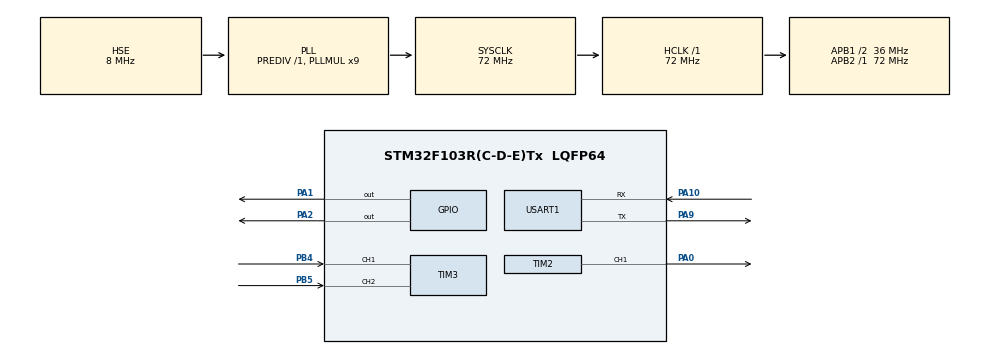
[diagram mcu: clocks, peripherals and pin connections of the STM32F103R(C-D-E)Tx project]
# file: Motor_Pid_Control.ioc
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Mcu.Family=STM32F1
Mcu.Name=STM32F103R(C-D-E)Tx
Mcu.Package=LQFP64
NVIC.PriorityGroup=NVIC_PRIORITYGROUP_4
NVIC.TIM3_IRQn=true\:0\:0\:false\:false\:true\:true\:true\:true
NVIC.USART1_IRQn=true\:0\:0\:false\:false\:true\:true\:true\:true
PA0-WKUP.Signal=S_TIM2_CH1_ETR
PA1.Signal=GPIO_Output
PA10.Mode=Asynchronous
PA10.Signal=USART1_RX
PA13.Mode=Serial_Wire
PA13.Signal=SYS_JTMS-SWDIO
PA14.Mode=Serial_Wire
PA14.Signal=SYS_JTCK-SWCLK
PA2.Signal=GPIO_Output
PA9.Mode=Asynchronous
PA9.Signal=USART1_TX
PB4.Signal=S_TIM3_CH1
PB5.Signal=S_TIM3_CH2
PD0-OSC_IN.Mode=HSE-External-Oscillator
PD0-OSC_IN.Signal=RCC_OSC_IN
PD1-OSC_OUT.Mode=HSE-External-Oscillator
PD1-OSC_OUT.Signal=RCC_OSC_OUT
ProjectManager.HeapSize=0x200
ProjectManager.StackSize=0x400
ProjectManager.TargetToolchain=MDK-ARM V5.32
RCC.AHBFreq_Value=72000000
RCC.APB1CLKDivider=RCC_HCLK_DIV2
RCC.APB1Freq_Value=36000000
RCC.APB1TimFreq_Value=72000000
RCC.APB2Freq_Value=72000000
RCC.APB2TimFreq_Value=72000000
RCC.HCLKFreq_Value=72000000
RCC.PLLMUL=RCC_PLL_MUL9
RCC.PLLSourceVirtual=RCC_PLLSOURCE_HSE
RCC.SYSCLKFreq_VALUE=72000000
RCC.SYSCLKSource=RCC_SYSCLKSOURCE_PLLCLK
RCC.USBFreq_Value=72000000
SH.S_TIM2_CH1_ETR.0=TIM2_CH1,PWM Generation1 CH1
SH.S_TIM3_CH1.0=TIM3_CH1,Encoder_Interface
SH.S_TIM3_CH2.0=TIM3_CH2,Encoder_Interface
TIM2.Channel-PWM\ Generation1\ CH1=TIM_CHANNEL_1
TIM2.Period=999
TIM2.Prescaler=719
USART1.VirtualMode=VM_ASYNC
board=custom

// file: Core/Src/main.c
/* USER CODE BEGIN Header */
/**
  ******************************************************************************
  * @file           : main.c
  * @brief          : Main program body
  ******************************************************************************
  * @attention
  *
  * Copyright (c) 2025 STMicroelectronics.
  * All rights reserved.
  *
  * This software is licensed under terms that can be found in the LICENSE file
  * in the root directory of this software component.
  * If no LICENSE file comes with this software, it is provided AS-IS.
  *
  ******************************************************************************
  */
/* USER CODE END Header */
#include "main.h"

/* USER CODE BEGIN Includes */
#include <math.h>
#include <stdio.h>
#include <string.h>
#include "encoder.h"
#include "pid_controller.h"
#include "motor_control.h"
#include "serial_interface.h"
/* USER CODE END Includes */

/* USER CODE BEGIN PM */
uint32_t system_time = 0; // 系统时间变量
char serial_buffer[100];  // 串口命令缓冲区
uint8_t buffer_index = 0; // 缓冲区索引
/* USER CODE END PM */

TIM_HandleTypeDef htim2;
TIM_HandleTypeDef htim3;

UART_HandleTypeDef huart1;

/* USER CODE BEGIN PV */
extern TIM_HandleTypeDef htim3;
extern UART_HandleTypeDef huart1;
extern TIM_HandleTypeDef htim2;
extern Motor_TypeDef motor1;
extern PID_Controller angle_pid;

extern int32_t encoder_overflow;

char serial_buffer[100];
uint8_t vofa_enabled = 1; // VOFA+数据发送开关
/* USER CODE END PV */

void SystemClock_Config(void);
static void MX_GPIO_Init(void);
static void MX_TIM2_Init(void);
static void MX_TIM3_Init(void);
static void MX_USART1_UART_Init(void);

/* USER CODE BEGIN 0 */
// int _write(int file, char *ptr, int len)
// {
// 	int DataIdx;
// 	for(DataIdx = 0; DataIdx < len; DataIdx++)
// 	{
// 		HAL_UART_Transmit(&huart1,(uint8_t *)&ptr[DataIdx],1,HAL_MAX_DELAY);
// 	}
// 	return len;
// }

int fputc(int ch, FILE *f)
{
  HAL_UART_Transmit_IT(&huart1, (uint8_t *)&ch, 1);
  return ch;
}
/* USER CODE END 0 */

int main(void)
{

  /* USER CODE BEGIN 1 */
  float target_angle = 30.0f;   // 目标角度，单位为度
  float current_angle = 0.0f;   // 当前角度，单位为度
  float pid_output = 0.0f;      // PID控制器输出
uint32_t last_print_time = 0; // 上次打印时间
  uint32_t start_time = 0;      // 步进测试开始时间
  uint8_t step_test_done = 0;   // 步进测试完成标志
  /* USER CODE END 1 */

  /* MCU Configuration--------------------------------------------------------*/

  /* Reset of all peripherals, Initializes the Flash interface and the Systick. */
  HAL_Init();

  /* Configure the system clock */
  SystemClock_Config();

  /* Initialize all configured peripherals */
  MX_GPIO_Init();
  MX_TIM2_Init();
  MX_TIM3_Init();
  MX_USART1_UART_Init();
  /* USER CODE BEGIN 2 */
  Motor_Init();                                                             // 初始化电机
  PID_Init();                                                               // 初始化PID控制器
  HAL_TIM_PWM_Start(&htim2, TIM_CHANNEL_1);                                 // 启动PWM输出
  HAL_TIM_Encoder_Start_IT(&htim3, TIM_CHANNEL_ALL);                        // 启动编码器接口
HAL_UART_Receive_IT(&huart1, (uint8_t *)&serial_buffer[buffer_index], 1); // 启动串口接收中断
  Encoder_ClearCount();                                                     // 清零编码器计数
  start_time = system_time;                                                 // 记录步进测试开始时间

printf("Motor PID Control System Initialized.\r\n");
HAL_Delay(10);
printf("Target:30° step response in 300ms\r\n");
HAL_Delay(10);
  printf("Encoder PPR:%d, Gear Ratio:%d,Total Pulses:%d\r\n", ENCODER_PPR, GEAR_RATIO, TOTAL_PULSES);
HAL_Delay(10);
printf("Commands:set kp/ki/kd <value>,pid show,pid reset,help\r\n");
HAL_Delay(10);
  printf("Initial PID: Kp=%.1f, Ki=%.1f, Kd=%.1f\r\n", angle_pid.Kp, angle_pid.Ki, angle_pid.Kd);
HAL_Delay(10);
  /* USER CODE END 2 */

  /* Infinite loop */
  /* USER CODE BEGIN WHILE */
  while (1)
  {
    // HAL_UART_Transmit_IT(&huart1, (uint8_t *)"hello", 6); // 触发UART中断处理
    current_angle = Encoder_GetAngle();                      // 获取当前角度
    pid_output = PID_Calculate(target_angle, current_angle); // 计算PID输出
    Motor_SetSpeed((int16_t)pid_output);                     // 电机控制
    if (vofa_enabled)
    {
      Vofa_SendData(target_angle, current_angle, pid_output);
    }
    if (!step_test_done && (system_time - start_time >= 300))
    {
      float error = fabs(target_angle - current_angle);
      if (error <= 0.3f)
      {
        printf("Step Response Test Passed! Time: %u ms, Final Angle: %.2f°, Error: %.2f°\r\n", system_time - start_time, current_angle, error);
      }
      else
      {
        printf("Step Response Test Failed! Time: %u ms, Final Angle: %.2f°, Error: %.2f°\r\n", system_time - start_time, current_angle, error);
      }
      step_test_done = 1; // 阶跃响应测试
    }
    if (system_time - last_print_time >= 100)
    {
      printf("Time:%u ms, Target:%.2f°, Current:%.2f°, PID Output:%.2f\r\n", system_time, target_angle, current_angle, pid_output);
      last_print_time = system_time;
    } // 100ms打印状态
    HAL_Delay(10);
    encoder_overflow += (short)__HAL_TIM_GET_COUNTER(&htim3); // 累计编码器计数
    __HAL_TIM_SET_COUNTER(&htim3, 0);                         // 清零计数器
    /* USER CODE END WHILE */

  }
}

void SystemClock_Config(void)
{
  RCC_OscInitTypeDef RCC_OscInitStruct = {0};
  RCC_ClkInitTypeDef RCC_ClkInitStruct = {0};

  /** Initializes the RCC Oscillators according to the specified parameters
  * in the RCC_OscInitTypeDef structure.
  */
  RCC_OscInitStruct.OscillatorType = RCC_OSCILLATORTYPE_HSE;
  RCC_OscInitStruct.HSEState = RCC_HSE_ON;
  RCC_OscInitStruct.HSEPredivValue = RCC_HSE_PREDIV_DIV1;
  RCC_OscInitStruct.HSIState = RCC_HSI_ON;
  RCC_OscInitStruct.PLL.PLLState = RCC_PLL_ON;
  RCC_OscInitStruct.PLL.PLLSource = RCC_PLLSOURCE_HSE;
  RCC_OscInitStruct.PLL.PLLMUL = RCC_PLL_MUL9;
  if (HAL_RCC_OscConfig(&RCC_OscInitStruct) != HAL_OK)
  {
    Error_Handler();
  }

  /** Initializes the CPU, AHB and APB buses clocks
  */
  RCC_ClkInitStruct.ClockType = RCC_CLOCKTYPE_HCLK|RCC_CLOCKTYPE_SYSCLK
                              |RCC_CLOCKTYPE_PCLK1|RCC_CLOCKTYPE_PCLK2;
  RCC_ClkInitStruct.SYSCLKSource = RCC_SYSCLKSOURCE_PLLCLK;
  RCC_ClkInitStruct.AHBCLKDivider = RCC_SYSCLK_DIV1;
  RCC_ClkInitStruct.APB1CLKDivider = RCC_HCLK_DIV2;
  RCC_ClkInitStruct.APB2CLKDivider = RCC_HCLK_DIV1;

  if (HAL_RCC_ClockConfig(&RCC_ClkInitStruct, FLASH_LATENCY_2) != HAL_OK)
  {
    Error_Handler();
  }
}

static void MX_TIM2_Init(void)
{

  TIM_MasterConfigTypeDef sMasterConfig = {0};
  TIM_OC_InitTypeDef sConfigOC = {0};

  htim2.Instance = TIM2;
  htim2.Init.Prescaler = 719;
  htim2.Init.CounterMode = TIM_COUNTERMODE_UP;
  htim2.Init.Period = 999;
  htim2.Init.ClockDivision = TIM_CLOCKDIVISION_DIV1;
  htim2.Init.AutoReloadPreload = TIM_AUTORELOAD_PRELOAD_DISABLE;
  if (HAL_TIM_PWM_Init(&htim2) != HAL_OK)
  {
    Error_Handler();
  }
  sMasterConfig.MasterOutputTrigger = TIM_TRGO_RESET;
  sMasterConfig.MasterSlaveMode = TIM_MASTERSLAVEMODE_DISABLE;
  if (HAL_TIMEx_MasterConfigSynchronization(&htim2, &sMasterConfig) != HAL_OK)
  {
    Error_Handler();
  }
  sConfigOC.OCMode = TIM_OCMODE_PWM1;
  sConfigOC.Pulse = 0;
  sConfigOC.OCPolarity = TIM_OCPOLARITY_HIGH;
  sConfigOC.OCFastMode = TIM_OCFAST_DISABLE;
  if (HAL_TIM_PWM_ConfigChannel(&htim2, &sConfigOC, TIM_CHANNEL_1) != HAL_OK)
  {
    Error_Handler();
  }
  HAL_TIM_MspPostInit(&htim2);

}

static void MX_TIM3_Init(void)
{

  TIM_Encoder_InitTypeDef sConfig = {0};
  TIM_MasterConfigTypeDef sMasterConfig = {0};

  htim3.Instance = TIM3;
  htim3.Init.Prescaler = 0;
  htim3.Init.CounterMode = TIM_COUNTERMODE_UP;
  htim3.Init.Period = 65535;
  htim3.Init.ClockDivision = TIM_CLOCKDIVISION_DIV1;
  htim3.Init.AutoReloadPreload = TIM_AUTORELOAD_PRELOAD_DISABLE;
  sConfig.EncoderMode = TIM_ENCODERMODE_TI1;
  sConfig.IC1Polarity = TIM_ICPOLARITY_RISING;
  sConfig.IC1Selection = TIM_ICSELECTION_DIRECTTI;
  sConfig.IC1Prescaler = TIM_ICPSC_DIV1;
  sConfig.IC1Filter = 0;
  sConfig.IC2Polarity = TIM_ICPOLARITY_RISING;
  sConfig.IC2Selection = TIM_ICSELECTION_DIRECTTI;
  sConfig.IC2Prescaler = TIM_ICPSC_DIV1;
  sConfig.IC2Filter = 0;
  if (HAL_TIM_Encoder_Init(&htim3, &sConfig) != HAL_OK)
  {
    Error_Handler();
  }
  sMasterConfig.MasterOutputTrigger = TIM_TRGO_RESET;
  sMasterConfig.MasterSlaveMode = TIM_MASTERSLAVEMODE_DISABLE;
  if (HAL_TIMEx_MasterConfigSynchronization(&htim3, &sMasterConfig) != HAL_OK)
  {
    Error_Handler();
  }

}

static void MX_USART1_UART_Init(void)
{

  huart1.Instance = USART1;
  huart1.Init.BaudRate = 115200;
  huart1.Init.WordLength = UART_WORDLENGTH_8B;
  huart1.Init.StopBits = UART_STOPBITS_1;
  huart1.Init.Parity = UART_PARITY_NONE;
  huart1.Init.Mode = UART_MODE_TX_RX;
  huart1.Init.HwFlowCtl = UART_HWCONTROL_NONE;
  huart1.Init.OverSampling = UART_OVERSAMPLING_16;
  if (HAL_UART_Init(&huart1) != HAL_OK)
  {
    Error_Handler();
  }

}

static void MX_GPIO_Init(void)
{
  GPIO_InitTypeDef GPIO_InitStruct = {0};

  /* GPIO Ports Clock Enable */
  __HAL_RCC_GPIOD_CLK_ENABLE();
  __HAL_RCC_GPIOA_CLK_ENABLE();
  __HAL_RCC_GPIOB_CLK_ENABLE();

  /*Configure GPIO pin Output Level */
  HAL_GPIO_WritePin(GPIOA, GPIO_PIN_1|GPIO_PIN_2, GPIO_PIN_RESET);

  /*Configure GPIO pins : PA1 PA2 */
  GPIO_InitStruct.Pin = GPIO_PIN_1|GPIO_PIN_2;
  GPIO_InitStruct.Mode = GPIO_MODE_OUTPUT_PP;
  GPIO_InitStruct.Pull = GPIO_NOPULL;
  GPIO_InitStruct.Speed = GPIO_SPEED_FREQ_LOW;
  HAL_GPIO_Init(GPIOA, &GPIO_InitStruct);

}

/* USER CODE BEGIN 4 */
void HAL_SYSTICK_Callback(void)
{
  system_time++; // 系统时间递增，单位为1ms
}

// void HAL_TIM_IC_CaptureCallback(TIM_HandleTypeDef *htim)
// {
//   static int32_t encoder_overflow = 0;
//   if(htim->Instance == TIM3)
//   {
//     if(__HAL_TIM_GET_FLAG(&htim3, TIM_FLAG_UPDATE) != RESET)
//     {
//       __HAL_TIM_CLEAR_FLAG(&htim3, TIM_FLAG_UPDATE);
//       if(__HAL_TIM_IS_TIM_COUNTING_DOWN(&htim3))
//       {
//         encoder_overflow -= 65536;
//       }
//       else
//       {
//         encoder_overflow += 65536;
//       }
//     }
//   }
// }
//
void HAL_UART_RxCpltCallback(UART_HandleTypeDef *huart)
{
  if(huart->Instance == USART1)
  {
   char receive_char = serial_buffer[buffer_index];
   if(receive_char == '\r' || receive_char == '\n')
    {
      serial_buffer[buffer_index] = '\0'; // 命令结束，添加字符串终止符
      Process_Serial_Command(serial_buffer); // 处理接收到的命令
      buffer_index = 0; // 重置缓冲区索引
    }
    else if(buffer_index < sizeof(serial_buffer) - 1)
    {
      buffer_index++;
    }
    HAL_UART_Receive_IT(&huart1, (uint8_t *)&serial_buffer[buffer_index], 1); // 继续接收下一个字符
  }
}

void Vofa_SendData(float setpoint, float feedback, float output)
{
  float data[] = {setpoint, feedback, output ,angle_pid.Kp , angle_pid.Ki , angle_pid.Kd, encoder_overflow};
  uint8_t tail[4] = {0x00, 0x00, 0x80, 0x7f};
  HAL_UART_Transmit(&huart1,(uint8_t*)data,sizeof(data),HAL_MAX_DELAY); //发送数据
  HAL_UART_Transmit(&huart1,tail,4,HAL_MAX_DELAY); //发送帧尾
}

/* USER CODE END 4 */

void Error_Handler(void)
{
  __disable_irq();
  while (1)
  {
  }
}
